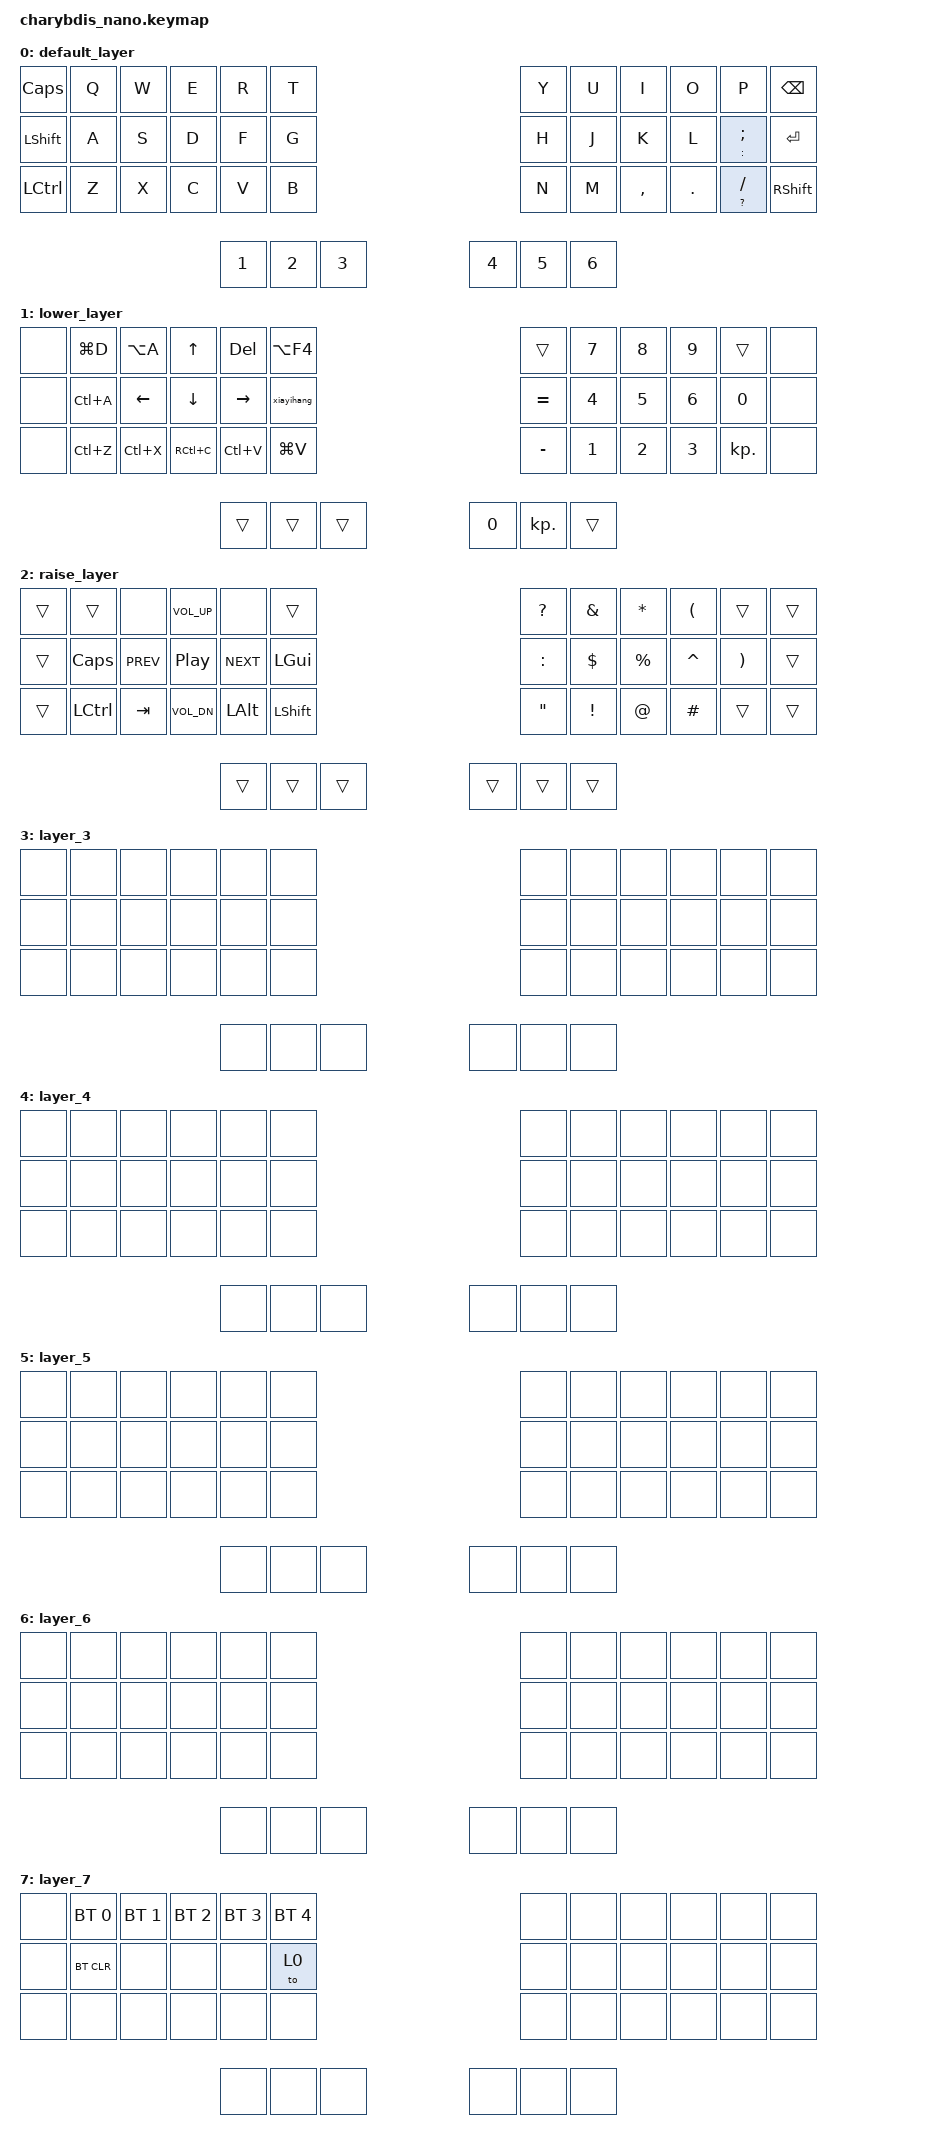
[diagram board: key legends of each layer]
#include <behaviors.dtsi>
#include <dt-bindings/zmk/bt.h>
#include <dt-bindings/zmk/keys.h>
#include <dt-bindings/zmk/outputs.h>
#include <dt-bindings/zmk/pointing.h>
#include <dt-bindings/zmk/pointing.h>

#define DEFAULT 0
#define NUMBER  1
#define SYMBOL  2
#define HOTKEY  3

&lt {
    tapping-term-ms = <200>;
    flavor = "balanced";
    quick-tap-ms = <170>;
};

/ {
    behaviors {
        hm: homerow_mods {
            compatible = "zmk,behavior-hold-tap";
            label = "HOMEROW_MODS";
            #binding-cells = <2>;
            tapping-term-ms = <200>;
            quick_tap_ms = <0>;
            flavor = "tap-preferred";
            bindings = <&kp>, <&kp>;

            quick-tap-ms = <180>;
            global-quick-tap;
        };

        ltq: ltq {
            compatible = "zmk,behavior-hold-tap";
            label = "LTQ";
            #binding-cells = <2>;
            tapping-term-ms = <200>;
            flavor = "hold-preferred";
            bindings = <&mo>, <&kp>;

            quick-tap-ms = <180>;
        };

        as: as {
            compatible = "zmk,behavior-hold-tap";
            label = "AUTO_SHIFT";
            bindings = <&kp>, <&kp>;

            #binding-cells = <2>;
            tapping-term-ms = <135>;
            quick-tap-ms = <0>;
            flavor = "tap-preferred";
        };
    };




    macros {

    };

    keymap {
        compatible = "zmk,keymap";

        default_layer {
            bindings = <
&kp CAPS        &kp Q      &kp W         &kp E        &kp R  &kp T  &kp Y  &kp U  &kp I         &kp O    &kp P                &kp BACKSPACE
&kp LEFT_SHIFT  &kp A      &kp S         &kp D        &kp F  &kp G  &kp H  &kp J  &kp K         &kp L    &as COLON SEMICOLON  &kp ENTER
&kp LCTRL       &kp Z      &kp X         &kp C        &kp V  &kp B  &kp N  &kp M  &kp COMMA     &kp DOT  &as QUESTION SLASH   &kp RIGHT_SHIFT
                &kp N1  &kp N2  &kp N3                            &kp N4  &kp N5    &kp N6
            >;
        };

        lower_layer {
            bindings = <
&none  &kp LG(D)  &kp LA(A)  &kp UP     &kp DELETE  &kp LA(F4)  &trans     &kp N7  &kp N8  &kp N9      &trans      &none
&none  &kp LC(A)  &kp LEFT   &kp DOWN   &kp RIGHT   &xiayihang  &kp EQUAL  &kp N4  &kp N5  &kp N6      &kp N0      &none
&none  &kp LC(Z)  &kp LC(X)  &kp RC(C)  &kp LC(V)   &kp LG(V)   &kp MINUS  &kp N1  &kp N2  &kp N3      &kp KP_DOT  &none
       &trans     &trans     &trans                                                &kp N0  &kp KP_DOT  &trans
            >;
        };

        raise_layer {
            bindings = <
&trans  &trans     &none       &kp C_VOL_UP  &none       &trans          &kp QUESTION       &kp AMPS  &kp ASTERISK  &kp LPAR   &trans    &trans
&trans  &kp CAPS   &kp C_PREV  &kp C_PP      &kp C_NEXT  &kp LGUI        &kp COLON          &kp DLLR  &kp PRCNT     &kp CARET  &kp RPAR  &trans
&trans  &kp LCTRL  &kp TAB     &kp C_VOL_DN  &kp LALT    &kp LEFT_SHIFT  &kp DOUBLE_QUOTES  &kp EXCL  &kp AT        &kp HASH   &trans    &trans
        &trans     &trans      &trans                                                                 &trans        &trans     &trans
            >;
        };

        layer_3 {
            bindings = <
&none  &none  &none  &none  &none  &none  &none  &none  &none  &none  &none  &none
&none  &none  &none  &none  &none  &none  &none  &none  &none  &none  &none  &none
&none  &none  &none  &none  &none  &none  &none  &none  &none  &none  &none  &none
       &none  &none  &none                              &none  &none  &none
            >;
        };

        layer_4 {
            bindings = <
&none  &none  &none  &none  &none  &none  &none  &none  &none  &none  &none  &none
&none  &none  &none  &none  &none  &none  &none  &none  &none  &none  &none  &none
&none  &none  &none  &none  &none  &none  &none  &none  &none  &none  &none  &none
       &none  &none  &none                              &none  &none  &none
            >;
        };

        layer_5 {
            bindings = <
&none  &none  &none  &none  &none  &none  &none  &none  &none  &none  &none  &none
&none  &none  &none  &none  &none  &none  &none  &none  &none  &none  &none  &none
&none  &none  &none  &none  &none  &none  &none  &none  &none  &none  &none  &none
       &none  &none  &none                              &none  &none  &none
            >;
        };

        layer_6 {
            bindings = <
&none  &none  &none  &none  &none  &none  &none  &none  &none  &none  &none  &none
&none  &none  &none  &none  &none  &none  &none  &none  &none  &none  &none  &none
&none  &none  &none  &none  &none  &none  &none  &none  &none  &none  &none  &none
       &none  &none  &none                              &none  &none  &none
            >;
        };

        layer_7 {
            bindings = <
&none  &bt BT_SEL 0  &bt BT_SEL 1  &bt BT_SEL 2  &bt BT_SEL 3  &bt BT_SEL 4  &none  &none  &none  &none  &none  &none
&none  &bt BT_CLR    &none         &none         &none         &to 0         &none  &none  &none  &none  &none  &none
&none  &none         &none         &none         &none         &none         &none  &none  &none  &none  &none  &none
       &none         &none         &none                                                   &none  &none  &none
            >;
        };
    };
};
